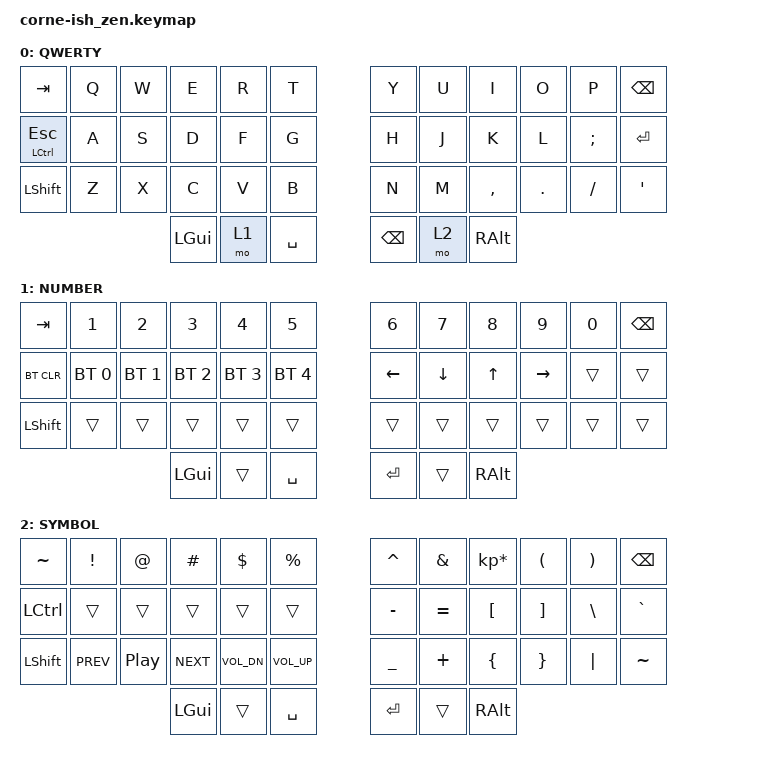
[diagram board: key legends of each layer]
/*
*
* Copyright (c) 2021 Darryl deHaan
* SPDX-License-Identifier: MIT
*
*/

#include <behaviors.dtsi>
#include <dt-bindings/zmk/keys.h>
#include <dt-bindings/zmk/bt.h>

/ {
        keymap {
                compatible = "zmk,keymap";

                default_layer {
                        label = "QWERTY";
// -----------------------------------------------------------------------------------------
// |  TAB   |  Q  |  W  |  E  |  R  |  T  |   |  Y  |  U   |  I  |  O  |  P  | BKSP |
// |ESC/CTRL|  A  |  S  |  D  |  F  |  G  |   |  H  |  J   |  K  |  L  |  ;  | ENT  |
// | SHFT   |  Z  |  X  |  C  |  V  |  B  |   |  N  |  M   |  ,  |  .  |  /  |  '   |
//                    | GUI | LWR | SPC |   | BKSP| RSE  | ALT |
                        bindings = <
   &kp TAB   &kp Q &kp W &kp E &kp R &kp T   &kp Y &kp U  &kp I     &kp O   &kp P    &kp BSPC
   &mt LCTRL ESC &kp A &kp S &kp D &kp F &kp G   &kp H &kp J  &kp K     &kp L   &kp SEMI &kp RET
   &kp LSHFT &kp Z &kp X &kp C &kp V &kp B   &kp N &kp M  &kp COMMA &kp DOT &kp FSLH &kp SQT
                  &kp LGUI &mo 1 &kp SPACE   &kp BKSP &mo 2 &kp RALT
                        >;
                };
                lower_layer {
                        label = "NUMBER";
// -----------------------------------------------------------------------------------------
// |  TAB |  1  |  2  |  3  |  4  |  5  |   |  6  |  7  |  8  |  9  |  0  | BKSP |
// | BTCLR| BT1 | BT2 | BT3 | BT4 | BT5 |   | LFT | DWN |  UP | RGT |     |      |
// | SHFT |     |     |     |     |     |   |     |     |     |     |     |      |
//                    | GUI |     | SPC |   | ENT |     | ALT |
                        bindings = <
   &kp TAB    &kp N1       &kp N2       &kp N3       &kp N4       &kp N5         &kp N6   &kp N7   &kp N8 &kp N9    &kp N0 &kp BSPC
   &bt BT_CLR &bt BT_SEL 0 &bt BT_SEL 1 &bt BT_SEL 2 &bt BT_SEL 3 &bt BT_SEL 4   &kp LEFT &kp DOWN &kp UP &kp RIGHT &trans &trans
   &kp LSHFT  &trans       &trans       &trans       &trans       &trans         &trans   &trans   &trans &trans    &trans &trans
                          	        &kp LGUI     &trans       &kp SPACE      &kp RET  &trans   &kp RALT
                        >;
                };

                raise_layer {
                        label = "SYMBOL";
// -----------------------------------------------------------------------------------------
// |  ~   |  !  |  @  |  #  |  $  |  %  |   |  ^  |  &  |  *  |  (  |  )  | BKSP |
// | CTRL |     |     |     |     |     |   |  -  |  =  |  [  |  ]  |  \  |  `   |
// | SHFT | <|<|| |>  ||>|> |  V- |  V+ |   |  _  |  +  |  {  |  }  | "|" |  ~   |
//                    | GUI |     | SPC |   | ENT |     | ALT |
                        bindings = <
   &kp  TILDE  &kp EXCL &kp AT &kp HASH &kp DLLR &kp PRCNT   &kp CARET &kp AMPS  &kp KP_MULTIPLY &kp LPAR &kp RPAR &kp BSPC
   &kp LCTRL &trans   &trans &trans   &trans   &trans      &kp MINUS &kp EQUAL &kp LBKT        &kp RBKT &kp BSLH &kp GRAVE
   &kp LSHFT &kp C_PREV &kp C_PP &kp C_NEXT &kp C_VOL_DN &kp C_VOL_UP   &kp UNDER &kp PLUS  &kp LBRC        &kp RBRC &kp PIPE &kp TILDE
                    	     &kp LGUI &trans   &kp SPACE   &kp RET   &trans    &kp RALT
                        >;
                };
        };
};
